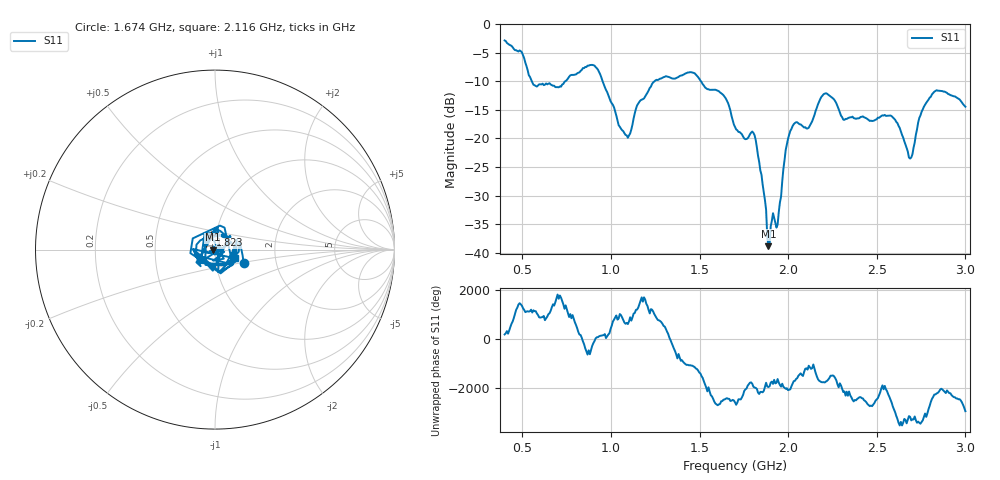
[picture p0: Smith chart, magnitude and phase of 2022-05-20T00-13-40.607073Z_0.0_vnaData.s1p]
!Created with skrf (http://scikit-rf.org).
# Hz S RI R 50.0
!freq ReS11 ImS11
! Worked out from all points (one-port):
!   401 points, 400 MHz to 3 GHz, reference 50 ohm
!   lowest |S11| = -38.8 dB at 1.889 GHz (marker M1), VSWR 1.02, Z = 48.9 - j0.102 ohm
!   |S11| at or under -10 dB: 553.7 MHz to 742 MHz (188.2 MHz wide, 29.1 % of centre); 953.1 MHz to 1.245 GHz (292.2 MHz wide, 26.6 % of centre); 1.508 GHz to end of sweep
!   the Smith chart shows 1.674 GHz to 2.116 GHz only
!   S11 on the Smith chart (normalised r, x): 1.674 GHz: 1.36, -0.21; 1.823 GHz: 0.94, +0.15; 2.116 GHz: 1.25, -0.13
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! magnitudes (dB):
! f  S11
! 400 MHz  -2.8
! 497.5 MHz  -4.9
! 569 MHz  -10.7
! 725 MHz  -10.5
! 907 MHz  -7.2
! 1.05 GHz  -17.9
! 1.095 GHz  -19.9
! 1.154 GHz  -13.9
! 1.245 GHz  -10.0
! 1.375 GHz  -9.3
! 1.472 GHz  -8.6
! 1.674 GHz  -15.1
! 1.7 GHz  -18.0
! 1.798 GHz  -18.8
! 1.823 GHz  -21.6
! 1.889 GHz  -38.8
! 1.94 GHz  -35.1
! 1.986 GHz  -22.0
! 2.025 GHz  -17.8
! 2.116 GHz  -18.1
! 2.207 GHz  -12.1
! 2.35 GHz  -16.3
! 2.584 GHz  -16.1
! 2.675 GHz  -22.3
! 2.695 GHz  -23.3
! 2.753 GHz  -15.3
! 2.825 GHz  -11.8
! 3 GHz  -14.4
